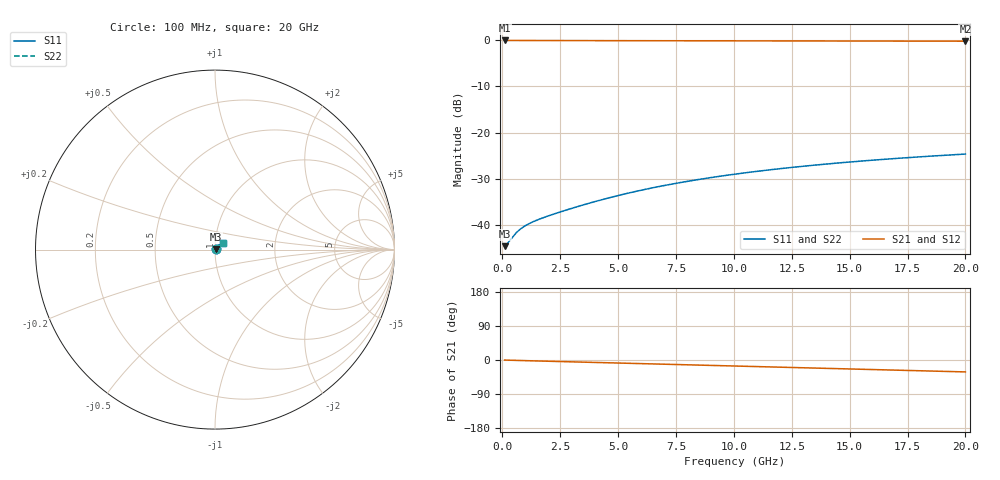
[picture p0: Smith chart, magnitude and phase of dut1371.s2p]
! Touchstone file exported from HFSS 2026.1.0
!  File:  C:/ffzhzh/LocalFiles/Ansys_Project_Files/temp_train_TMRDL_1371_1783165873_22436.aedt
!  Generated:  07:52:14 PM Jul  4, 2026
!  Design:  TMRDL
!  Project:  temp_train_TMRDL_1371_1783165873_22436
! Variables:
!  h_bsmrdl = 2um
!  h_ox = 20um
!  h_rdl = 5um
!  h_sub = 80um
!  h_tmrdl = 2.55um
!  h_tsv = 80um
!  h_via = 3um
!  l_bsmrdl = 300um
!  l_sub = 964.29um
!  l_tmrdl = 564.29um
!  m_sub = 200um
!  pitch = 17.13um
!  r_tsv = 6um
!  s_tmrdl = 10um
!  w_bsmrdl = 18um
!  w_sub = 500um
!  w_tmrdl = 13.69um
!  x_tsv_center1 = 571.135um
!  x_tsv_center2 = 889.135um
!  x_tsv_center3 = 1467.115um
!  x_tsv_center4 = 1785.115um
!  x_tsv_center5 = 2363.095um
!  x_tsv_center6 = 2681.095um
# GHz S MA R 50.000000
! Terminal data exported
! Port[1] = TM_RDL1_1_T1
! Port[2] = TM_RDL1_1_T2
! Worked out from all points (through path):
!   200 points, 100 MHz to 20 GHz, reference 50 ohm
!   highest |S21| = -0.05 dB at 100 MHz (marker M1); lowest = -0.2 dB at 20 GHz (marker M2)
!   group delay of S21, straight-line fit = 4.36 ps
!   lowest |S11| = -44.5 dB at 100 MHz (marker M3), VSWR 1.01, Z = 50.6 + j0.0825 ohm
!   |S11| at or under -10 dB: start of sweep to end of sweep
!   |S22| runs from -44.5 to -24.6 dB; largest |S21 - S12| = 4.6e-15
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0.1  0.005932 7.9  0.9941 -0.2  0.9941 -0.2  0.005932 7.9
! Gamma 0 0 0 0
! Port Impedance 50 0 50 0
0.2  0.006254 14.7  0.994 -0.4  0.994 -0.4  0.006255 14.7
0.5  0.007757 26.3  0.9931 -0.9  0.9931 -0.9  0.007759 26.2
0.6  0.00826 28.1  0.9928 -1.1  0.9928 -1.1  0.008261 28.0
0.7  0.008725 29.4  0.9925 -1.2  0.9925 -1.2  0.008725 29.3
0.9  0.009537 31.2  0.992 -1.6  0.992 -1.6  0.009535 31.1
1.1  0.01022 32.6  0.9916 -1.9  0.9916 -1.9  0.01021 32.6
1.4  0.01109 34.6  0.9911 -2.4  0.9911 -2.4  0.01108 34.5
1.9  0.01238 37.9  0.9907 -3.1  0.9907 -3.1  0.01237 37.8
2.6  0.01416 42.0  0.9902 -4.2  0.9902 -4.2  0.01415 42.0
3.5  0.01658 46.1  0.9897 -5.7  0.9897 -5.7  0.01657 46.2
4.3  0.01886 48.6  0.9892 -7.0  0.9892 -7.0  0.01885 48.6
5.1  0.02121 50.2  0.9887 -8.2  0.9887 -8.2  0.0212 50.2
5.9  0.0236 51.0  0.9882 -9.5  0.9882 -9.5  0.02358 51.1
6.8  0.02628 51.4  0.9875 -10.9  0.9875 -10.9  0.02626 51.5
8.4  0.03098 51.1  0.9862 -13.5  0.9862 -13.5  0.03094 51.2
10.1  0.03578 49.8  0.9848 -16.1  0.9848 -16.1  0.03573 49.9
11.7  0.04008 48.1  0.9833 -18.6  0.9833 -18.6  0.04002 48.3
13.4  0.04439 46.0  0.9818 -21.3  0.9818 -21.3  0.04431 46.2
15  0.04822 43.9  0.9804 -23.8  0.9804 -23.8  0.04812 44.2
16.7  0.05203 41.6  0.9789 -26.4  0.9789 -26.4  0.05191 41.9
20  0.05877 37.0  0.9762 -31.5  0.9762 -31.5  0.05859 37.4
